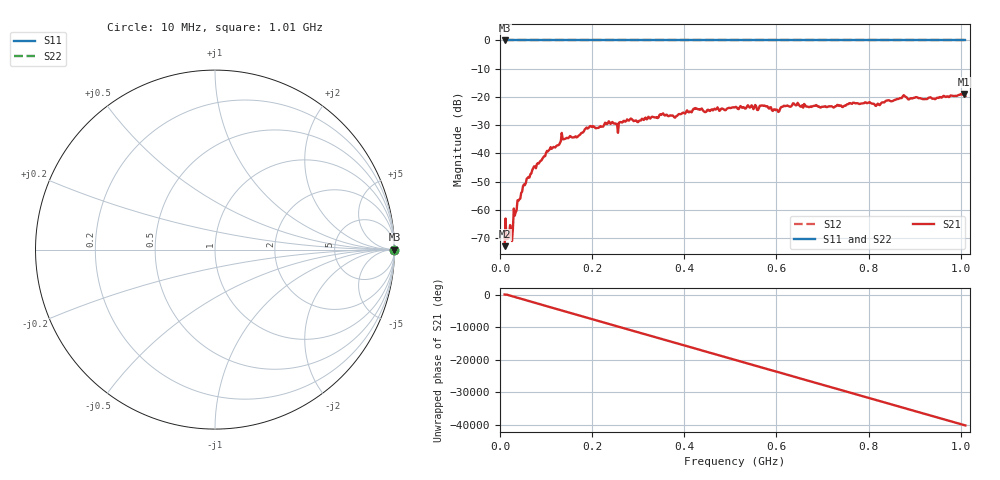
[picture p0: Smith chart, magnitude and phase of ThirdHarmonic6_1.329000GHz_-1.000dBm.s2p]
! 8/16/2025 2:50:41 PM
! C:\ANRITSUVNA\TEMP\TEMP.S2P
! CHANNEL.1
! TR.MEASUREMENT
! RAW.DATA
! RF.CORRECTION.OFF
! AVERAGING.OFF
! IF.BANDWIDTH: 5KHZ
! SWEEPTYPE:  FREQ.SWEEP(Linear)
! Reference Plane Port Info
! PORT:  PORT1  PORT2
! DISTANCE:  0  m  0  m
! TIME:  0  s  0  s
! PHASE.OFFSET:  0  deg.  0  deg.
! LOSS:  0  dB  0  dB
! REF.LOSS:  0  dB  0  dB
! REF.FREQ:  0  Hz  0  Hz
! Power Info
! POWER:  -20  dBm  -20  dBm
! EFF.POWER:  -20  dBm  -20  dBm
! SOURCE.ATTEN:  0  dB  0  dB
! TEST.ATTEN:  0  dB  0  dB
# GHZ S RI R 50.0
! FREQ.GHZ  S11RE  S11IM  S21RE  S21IM  S12RE  S12IM  S22RE  S22IM
!; PortSelection: Port_12
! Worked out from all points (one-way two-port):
!   501 points, 10 MHz to 1.01 GHz, reference 50 ohm
!   highest |S21| = -18.92 dB at 1.006 GHz (marker M1); lowest = -72.9 dB at 10 MHz (marker M2)
!   lowest |S11| = 0.0 dB at 10 MHz (marker M3)
!   |S11| at or under -10 dB: nowhere
!   |S22| runs from 0.0 to 0.0 dB; largest |S21 - S12| = 1.1
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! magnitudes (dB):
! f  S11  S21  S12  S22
! 10 MHz  0.0  -72.9  0.0  0.0
! 24 MHz  0.0  -67.7  0.0  0.0
! 34 MHz  0.0  -60.9  0.0  0.0
! 42 MHz  0.0  -56.3  0.0  0.0
! 54 MHz  0.0  -51.3  0.0  0.0
! 72 MHz  0.0  -45.3  0.0  0.0
! 136 MHz  0.0  -35.0  0.0  0.0
! 178 MHz  0.0  -32.7  0.0  0.0
! 232 MHz  0.0  -29.7  0.0  0.0
! 252 MHz  0.0  -29.6  0.0  0.0
! 344 MHz  0.0  -27.3  0.0  0.0
! 382 MHz  0.0  -26.9  0.0  0.0
! 424 MHz  0.0  -24.0  0.0  0.0
! 510 MHz  0.0  -23.7  0.0  0.0
! 570 MHz  0.0  -23.1  0.0  0.0
! 602 MHz  0.0  -24.7  0.0  0.0
! 638 MHz  0.0  -22.4  0.0  0.0
! 678 MHz  0.0  -23.4  0.0  0.0
! 820 MHz  0.0  -22.4  0.0  0.0
! 844 MHz  0.0  -21.2  0.0  0.0
! 1.006 GHz  0.0  -18.9  0.0  0.0
! 1.01 GHz  0.0  -19.7  0.0  0.0
